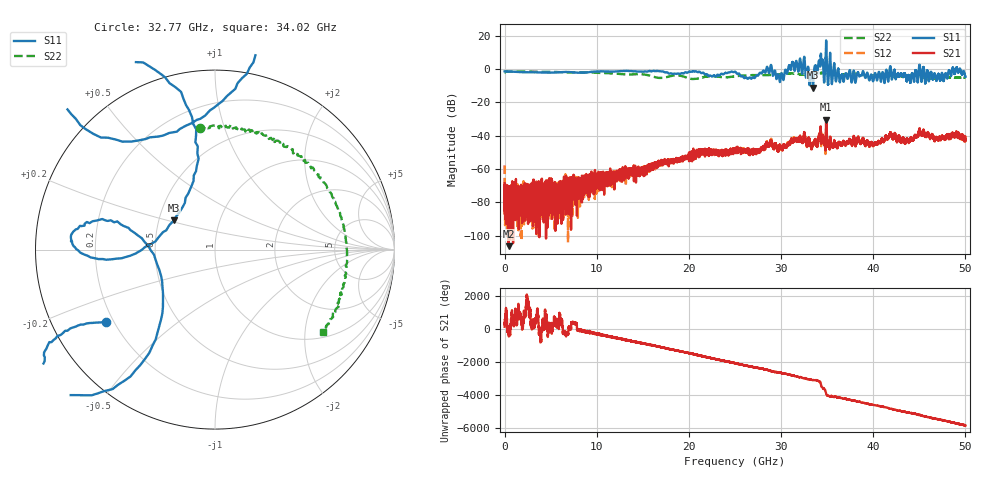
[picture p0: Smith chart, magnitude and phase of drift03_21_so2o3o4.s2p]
!Created with skrf (http://scikit-rf.org).
# Hz S RI R 50.0
!freq ReS11 ImS11 ReS21 ImS21 ReS12 ImS12 ReS22 ImS22
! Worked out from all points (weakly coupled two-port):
!   10001 points, 300 kHz to 50 GHz, reference 50 ohm
!   highest |S21| = -30.33 dB at 34.89 GHz (marker M1); lowest = -106.3 dB at 440.3 MHz (marker M2)
!   lowest |S11| = -11.0 dB at 33.47 GHz (marker M3), VSWR 1.78, Z = 30 + j10.6 ohm
!   |S11| at or under -10 dB: 33.44688 GHz to 33.4866 GHz (39.72 MHz wide, 0.119 % of centre)
!   |S22| runs from -5.9 to -1.3 dB; largest |S21 - S12| = 0.0067
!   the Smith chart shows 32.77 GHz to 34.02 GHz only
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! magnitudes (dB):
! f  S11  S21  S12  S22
! 300 kHz  -1.3  -68.3  -57.8  -2.1
! 255.3 MHz  -1.3  -85.3  -79.9  -1.4
! 440.3 MHz  -1.4  -106.3  -71.2  -1.4
! 5.4 GHz  -2.0  -87.0  -87.3  -1.7
! 8.335 GHz  -2.2  -68.8  -69.3  -1.9
! 16.67 GHz  -1.1  -56.3  -56.3  -5.2
! 25 GHz  -1.5  -48.6  -49.3  -4.3
! 26.92 GHz  -4.9  -48.7  -49.9  -3.5
! 28.73 GHz  -2.2  -46.3  -45.5  -3.5
! 30.06 GHz  -2.5  -47.0  -47.4  -2.9
! 31.87 GHz  -1.5  -42.8  -41.9  -2.9
! 33.34 GHz  -2.1  -47.3  -47.3  -2.9
! 33.47 GHz  -11.0  -44.6  -45.0  -2.8
! 34.3 GHz  7.4  -34.3  -35.5  -2.3
! 34.89 GHz  17.3  -30.3  -31.8  -2.3
! 36.58 GHz  -3.4  -45.9  -46.0  -3.6
! 40.16 GHz  -2.8  -44.0  -44.7  -3.7
! 41.67 GHz  -5.7  -40.9  -40.4  -3.7
! 45.19 GHz  -4.8  -38.6  -39.2  -4.5
! 47.07 GHz  -2.7  -42.0  -41.4  -5.1
! 49.22 GHz  -1.9  -40.4  -39.8  -5.2
! 50 GHz  -4.6  -42.2  -43.0  -5.0
